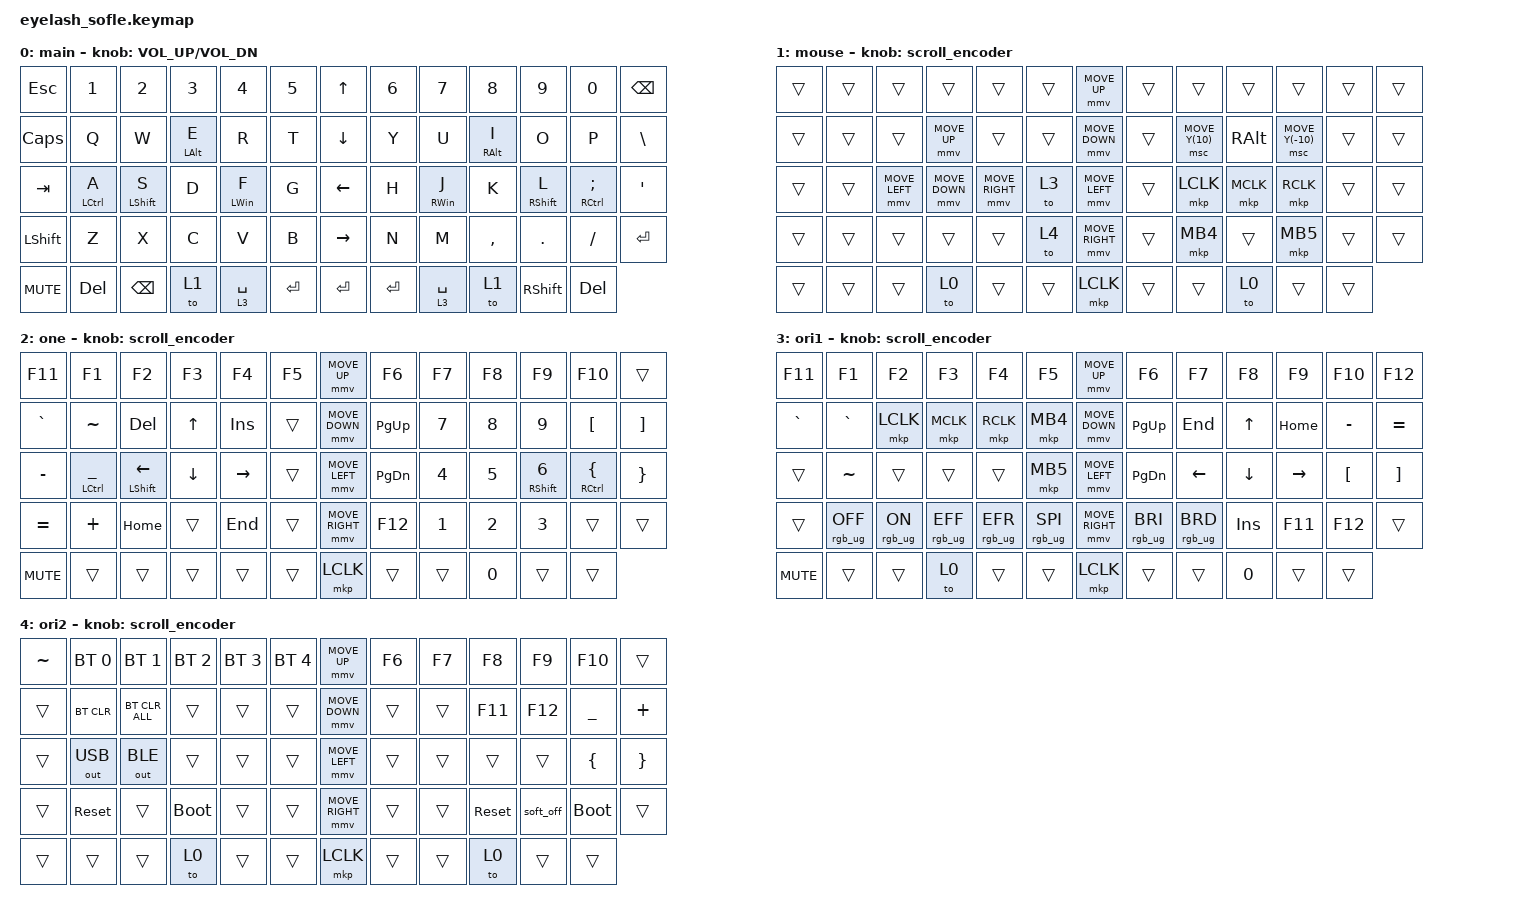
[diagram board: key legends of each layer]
#define ZMK_POINTING_DEFAULT_MOVE_VAL 1200  // 600
#define ZMK_POINTING_DEFAULT_SCRL_VAL 35    // 10

#include <input/processors.dtsi>
#include <zephyr/dt-bindings/input/input-event-codes.h>
#include <behaviors.dtsi>
#include <dt-bindings/zmk/bt.h>
#include <dt-bindings/zmk/keys.h>
#include <dt-bindings/zmk/outputs.h>
#include <dt-bindings/zmk/pointing.h>
#include <dt-bindings/zmk/rgb.h>

/ {
    zip_scroll_scaler: zip_scroll_scaler {
        compatible = "zmk,input-processor-scaler";
        #input-processor-cells = <2>;
        type = <INPUT_EV_REL>;
        codes = <INPUT_REL_WHEEL INPUT_REL_HWHEEL>;
        track-remainders;
    };
};

&mmv_input_listener { input-processors = <&zip_xy_scaler 2 1>; };

&msc_input_listener { input-processors = <&zip_scroll_scaler 2 1>; };

&msc {
    acceleration-exponent = <0>;      // 0
    time-to-max-speed-ms = <0>;       // 300
    delay-ms = <0>;                   // 0
};

&mmv {
    time-to-max-speed-ms = <400>;
    acceleration-exponent = <1>;
};

/ {
    scroll_encoder: scroll_encoder {
        compatible = "zmk,behavior-sensor-rotate";
        #sensor-binding-cells = <0>;
        bindings = <&msc SCRL_DOWN>, <&msc SCRL_UP>;

        tap-ms = <30>;
    };

    macros {
        shift_MB3: shift_MB3 {
            compatible = "zmk,behavior-macro";
            #binding-cells = <0>;
            bindings =
                <&macro_press>,
                <&kp LEFT_SHIFT>,
                <&macro_press>,
                <&mkp MB3>,
                <&macro_pause_for_release>,
                <&macro_release>,
                <&mkp MB3 &kp LEFT_SHIFT>;

            label = "SHIFT_MB3";
        };
    };

    behaviors {
        hm: homerow_mods {
            compatible = "zmk,behavior-hold-tap";
            label = "HOMEROW_MODS";
            #binding-cells = <2>;
            tapping-term-ms = <200>;       // 触发长按的时间阈值
            quick-tap-ms = <175>;          // 快速连点时不触发 Mod
            flavor = "tap-preferred";      // 滚键流的救星：只要一个键按压时间没超过tapping-term，就判定为单键，所以使用组合键时需要停留一下
            require-prior-idle-ms = <150>; // 只有第二个按键前“闲置”一段时间后才允许触发 Mod，防止滚键判定为组合键
            hold-trigger-on-release;       // 延迟判定：第二个按键松开才判定
            bindings = <&kp>, <&kp>;
        };
    };

    keymap {
        compatible = "zmk,keymap";

        main {
            bindings = <
&kp ESC     &kp N1       &kp N2            &kp N3          &kp N4       &kp N5       &kp UP_ARROW     &kp N6     &kp N7           &kp N8           &kp N9             &kp N0                  &kp BACKSPACE
&kp CAPS    &kp Q        &kp W             &hm LEFT_ALT E  &kp R        &kp T        &kp DOWN_ARROW   &kp Y      &kp U            &hm RIGHT_ALT I  &kp O              &kp P                   &kp BSLH
&kp TAB     &hm LCTRL A  &hm LEFT_SHIFT S  &kp D           &hm LWIN F   &kp G        &kp LEFT_ARROW   &kp H      &hm RIGHT_WIN J  &kp K            &hm RIGHT_SHIFT L  &hm RIGHT_CONTROL SEMI  &kp APOS
&kp LSHFT   &kp Z        &kp X             &kp C           &kp V        &kp B        &kp RIGHT_ARROW  &kp N      &kp M            &kp COMMA        &kp DOT            &kp FSLH                &kp ENTER
&kp C_MUTE  &kp DELETE   &kp BACKSPACE     &to 1           &lt 3 SPACE  &kp ENTER    &kp ENTER        &kp ENTER  &lt 3 SPACE      &to 1            &kp RIGHT_SHIFT    &kp DELETE
            >;

            sensor-bindings = <&inc_dec_kp C_VOLUME_UP C_VOL_DN>;
            display-name = "main";
        };

        mouse {
            bindings = <
&trans  &trans  &trans          &trans          &trans           &trans    &mmv MOVE_UP     &trans  &trans           &trans         &trans            &trans  &trans
&trans  &trans  &trans          &mmv MOVE_UP    &trans           &trans    &mmv MOVE_DOWN   &trans  &msc MOVE_Y(10)  &kp RIGHT_ALT  &msc MOVE_Y(-10)  &trans  &trans
&trans  &trans  &mmv MOVE_LEFT  &mmv MOVE_DOWN  &mmv MOVE_RIGHT  &to 3     &mmv MOVE_LEFT   &trans  &mkp LCLK        &mkp MCLK      &mkp RCLK         &trans  &trans
&trans  &trans  &trans          &trans          &trans           &to 4     &mmv MOVE_RIGHT  &trans  &mkp MB4         &trans         &mkp MB5          &trans  &trans
&trans  &trans  &trans          &to 0           &trans           &trans    &mkp LCLK        &trans  &trans           &to 0          &trans            &trans
            >;

            sensor-bindings = <&scroll_encoder>;
            display-name = "mouse";
        };

        one {
            bindings = <
&kp F11     &kp F1                &kp F2                     &kp F3          &kp F4           &kp F5    &mmv MOVE_UP     &kp F6     &kp F7  &kp F8  &kp F9              &kp F10               &trans
&kp GRAVE   &kp TILDE             &kp DELETE                 &kp UP_ARROW    &kp INSERT       &trans    &mmv MOVE_DOWN   &kp PG_UP  &kp N7  &kp N8  &kp N9              &kp LEFT_BRACKET      &kp RIGHT_BRACKET
&kp MINUS   &hm LCTRL UNDERSCORE  &hm LEFT_SHIFT LEFT_ARROW  &kp DOWN_ARROW  &kp RIGHT_ARROW  &trans    &mmv MOVE_LEFT   &kp PG_DN  &kp N4  &kp N5  &hm RIGHT_SHIFT N6  &hm RCTRL LEFT_BRACE  &kp RIGHT_BRACE
&kp EQUAL   &kp PLUS              &kp HOME                   &trans          &kp END          &trans    &mmv MOVE_RIGHT  &kp F12    &kp N1  &kp N2  &kp N3              &trans                &trans
&kp C_MUTE  &trans                &trans                     &trans          &trans           &trans    &mkp LCLK        &trans     &trans  &kp N0  &trans              &trans
            >;

            display-name = "one";
            sensor-bindings = <&scroll_encoder>;
        };

        ori1 {
            display-name = "ori1";
            bindings = <
&kp F11     &kp F1           &kp F2          &kp F3           &kp F4           &kp F5             &mmv MOVE_UP     &kp F6           &kp F7           &kp F8      &kp F9     &kp F10           &kp F12
&kp GRAVE   &kp GRAVE        &mkp LCLK       &mkp MCLK        &mkp RCLK        &mkp MB4           &mmv MOVE_DOWN   &kp PG_UP        &kp END          &kp UP      &kp HOME   &kp MINUS         &kp EQUAL
&trans      &kp TILDE        &trans          &trans           &trans           &mkp MB5           &mmv MOVE_LEFT   &kp PG_DN        &kp LEFT         &kp DOWN    &kp RIGHT  &kp LEFT_BRACKET  &kp RIGHT_BRACKET
&trans      &rgb_ug RGB_OFF  &rgb_ug RGB_ON  &rgb_ug RGB_EFF  &rgb_ug RGB_EFR  &rgb_ug RGB_SPI    &mmv MOVE_RIGHT  &rgb_ug RGB_BRI  &rgb_ug RGB_BRD  &kp INSERT  &kp F11    &kp F12           &trans
&kp C_MUTE  &trans           &trans          &to 0            &trans           &trans             &mkp LCLK        &trans           &trans           &kp N0      &trans     &trans
            >;

            sensor-bindings = <&scroll_encoder>;
        };

        ori2 {
            bindings = <
&kp TILDE  &bt BT_SEL 0  &bt BT_SEL 1    &bt BT_SEL 2  &bt BT_SEL 3  &bt BT_SEL 4    &mmv MOVE_UP     &kp F6  &kp F7  &kp F8      &kp F9     &kp F10      &trans
&trans     &bt BT_CLR    &bt BT_CLR_ALL  &trans        &trans        &trans          &mmv MOVE_DOWN   &trans  &trans  &kp F11     &kp F12    &kp UNDER    &kp PLUS
&trans     &out OUT_USB  &out OUT_BLE    &trans        &trans        &trans          &mmv MOVE_LEFT   &trans  &trans  &trans      &trans     &kp LBRC     &kp RBRC
&trans     &sys_reset    &trans          &bootloader   &trans        &trans          &mmv MOVE_RIGHT  &trans  &trans  &sys_reset  &soft_off  &bootloader  &trans
&trans     &trans        &trans          &to 0         &trans        &trans          &mkp LCLK        &trans  &trans  &to 0       &trans     &trans
            >;

            sensor-bindings = <&scroll_encoder>;
            display-name = "ori2";
        };
    };
};
